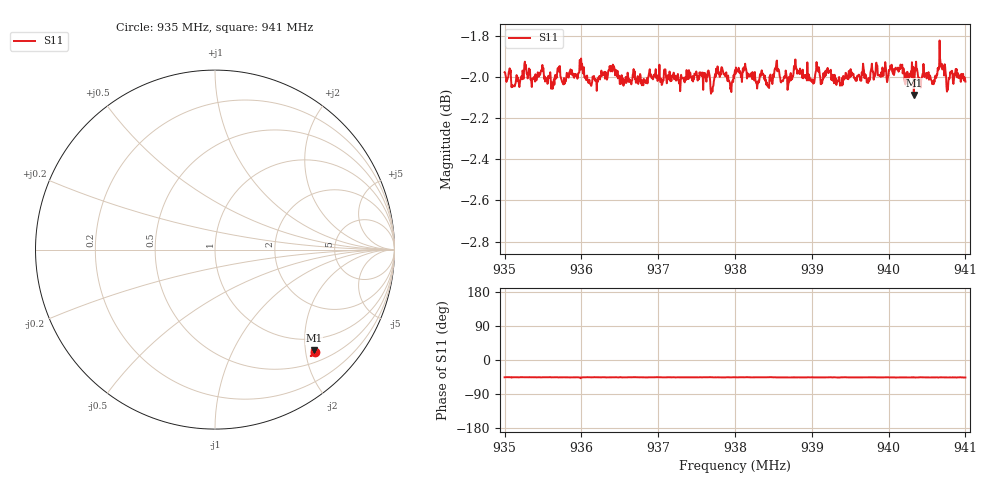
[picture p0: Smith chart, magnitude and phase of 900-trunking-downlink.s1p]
! Calibrated averaged scanner-service zoom
# Hz S RI R 50
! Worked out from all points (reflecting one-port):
!   1001 points, 935 MHz to 941 MHz, reference 50 ohm
!   lowest |S11| = -2.1 dB at 940.328 MHz (marker M1), VSWR 8.36, Z = 37 - j109 ohm
!   phase of S11 starts at -46 deg and turns -1 deg over the sweep
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9.35e8  0.557 -0.5693
9.3575e8  0.5536 -0.5664
9.35936e8  0.5545 -0.5691
9.3599e8  0.5333 -0.5931
9.36086e8  0.5554 -0.5653
9.36404e8  0.5598 -0.5671
9.365e8  0.555 -0.564
9.36986e8  0.5591 -0.5653
9.3725e8  0.5554 -0.5682
9.37502e8  0.5521 -0.5732
9.37688e8  0.5528 -0.5601
9.37838e8  0.5545 -0.5732
9.38e8  0.5585 -0.5692
9.3836e8  0.5548 -0.57
9.38444e8  0.5538 -0.5626
9.3854e8  0.5579 -0.5752
9.3875e8  0.5536 -0.5703
9.39218e8  0.5551 -0.5706
9.3935e8  0.5495 -0.5724
9.395e8  0.5543 -0.5729
9.40166e8  0.5552 -0.5736
9.4025e8  0.551 -0.5729
9.40328e8  0.5512 -0.5608
9.40574e8  0.5503 -0.5688
9.40688e8  0.5576 -0.5718
9.40766e8  0.5471 -0.5691
9.40922e8  0.554 -0.569
9.41e8  0.5488 -0.5714
